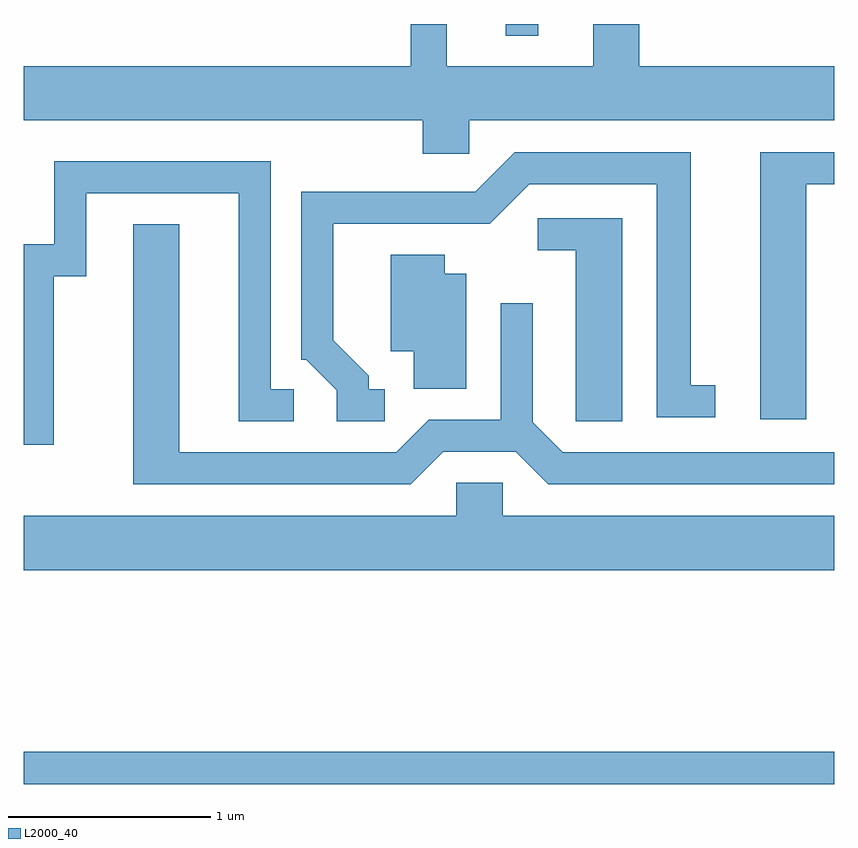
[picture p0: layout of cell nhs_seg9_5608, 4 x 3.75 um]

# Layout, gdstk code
import gdstk
lib = gdstk.Library(unit=1e-6, precision=1e-09)
def R(c, l, rs):  # rectangles x0, y0, x1, y1
    for r in rs: c.add(gdstk.rectangle(r[:2], r[2:], *l))
def P(c, l, *ps):  # polygons
    for p in ps: c.add(gdstk.Polygon(p, *l))
L2000_40 = (2000, 40)

nhs_seg9_5608 = lib.new_cell('nhs_seg9_5608')
R(nhs_seg9_5608, L2000_40, [(349.611,2070.681,353.611,2070.839), (351.991,2074.373,352.149,2074.432)])
P(nhs_seg9_5608, L2000_40, [(351.809,2073.956),(353.611,2073.956),(353.611,2074.224),(352.649,2074.224),(352.649,2074.432),(352.421,2074.432),(352.421,2074.224),(351.699,2074.224),(351.699,2074.432),(351.521,2074.432),(351.521,2074.224),(349.611,2074.224),(349.611,2073.956),(351.581,2073.956),(351.581,2073.791),(351.809,2073.791)],
  [(351.393,2072.629),(351.314,2072.629),(351.314,2072.697),(351.139,2072.872),(351.139,2073.446),(351.912,2073.446),(352.107,2073.641),(352.736,2073.641),(352.736,2072.491),(353.023,2072.491),(353.023,2072.649),(352.904,2072.649),(352.904,2073.799),(352.034,2073.799),(351.839,2073.604),(350.981,2073.604),(350.981,2072.776),(351.004,2072.776),(351.156,2072.624),(351.156,2072.471),(351.393,2072.471)],
  [(353.474,2073.641),(353.611,2073.641),(353.611,2073.799),(353.246,2073.799),(353.246,2072.481),(353.474,2072.481)],
  [(349.759,2073.186),(349.919,2073.186),(349.919,2073.596),(350.671,2073.596),(350.671,2072.471),(350.943,2072.471),(350.943,2072.629),(350.829,2072.629),(350.829,2073.754),(349.761,2073.754),(349.761,2073.344),(349.611,2073.344),(349.611,2072.356),(349.759,2072.356)],
  [(352.564,2073.474),(352.148,2073.474),(352.148,2073.316),(352.336,2073.316),(352.336,2072.471),(352.564,2072.471)],
  [(351.682,2072.321),(352.039,2072.321),(352.199,2072.161),(353.611,2072.161),(353.611,2072.319),(352.272,2072.319),(352.124,2072.467),(352.124,2073.053),(351.966,2073.053),(351.966,2072.479),(351.609,2072.479),(351.449,2072.319),(350.379,2072.319),(350.379,2073.444),(350.151,2073.444),(350.151,2072.161),(351.522,2072.161)],
  [(351.794,2073.199),(351.689,2073.199),(351.689,2073.294),(351.421,2073.294),(351.421,2072.816),(351.536,2072.816),(351.536,2072.631),(351.794,2072.631)],
  [(353.611,2072.004),(351.974,2072.004),(351.974,2072.169),(351.746,2072.169),(351.746,2072.004),(349.611,2072.004),(349.611,2071.736),(353.611,2071.736)])

lib.write_gds('nhs_seg9_5608.gds')
